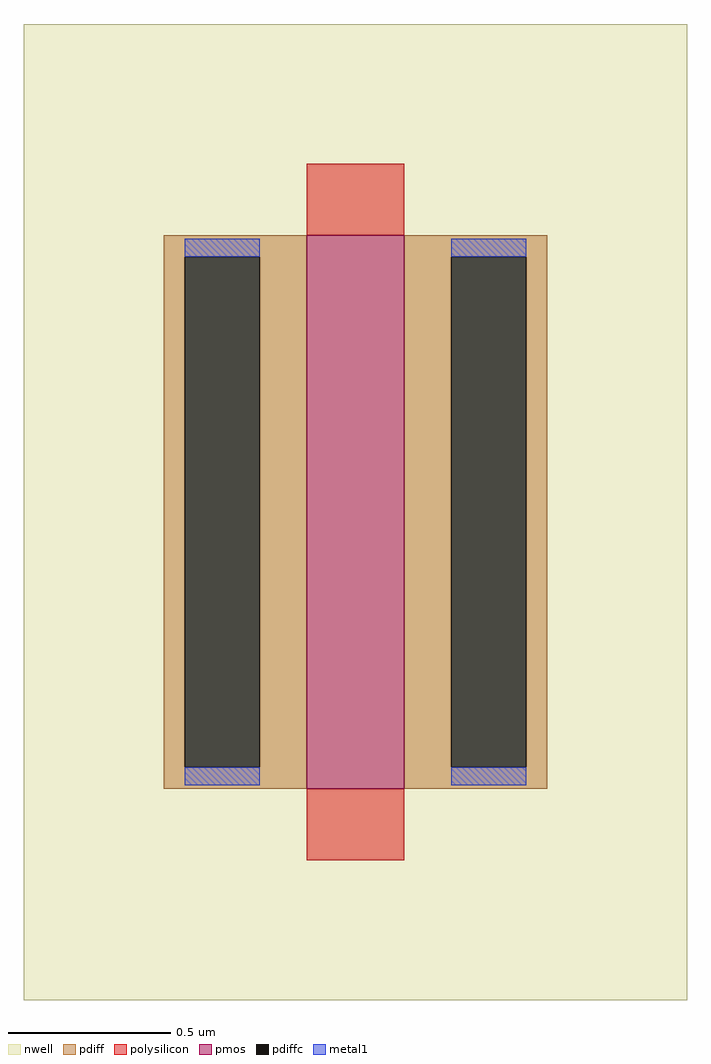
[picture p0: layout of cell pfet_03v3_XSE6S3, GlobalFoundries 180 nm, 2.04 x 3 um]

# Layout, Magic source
magic
tech gf180mcuD
magscale 1 10
<< nwell >>
rect -204 -300 204 300
<< pmos >>
rect -30 -170 30 170
<< pdiff >>
rect -118 157 -30 170
rect -118 -157 -105 157
rect -59 -157 -30 157
rect -118 -170 -30 -157
rect 30 157 118 170
rect 30 -157 59 157
rect 105 -157 118 157
rect 30 -170 118 -157
<< pdiffc >>
rect -105 -157 -59 157
rect 59 -157 105 157
<< polysilicon >>
rect -30 170 30 214
rect -30 -214 30 -170
<< metal1 >>
rect -105 157 -59 168
rect -105 -168 -59 -157
rect 59 157 105 168
rect 59 -168 105 -157
<< properties >>
string gencell pfet_03v3
string library gf180mcu
string parameters w 1.7 l 0.3 m 1 nf 1 diffcov 100 polycov 100 guard 0 glc 0 grc 0 gtc 0 gbc 0 tbcov 100 rlcov 100 topc 0 botc 0 poverlap 0 doverlap 1 lmin 0.28 wmin 0.22 class mosfet full_metal 0 compatible {pfet_03v3 pfet_06v0}
<< end >>
